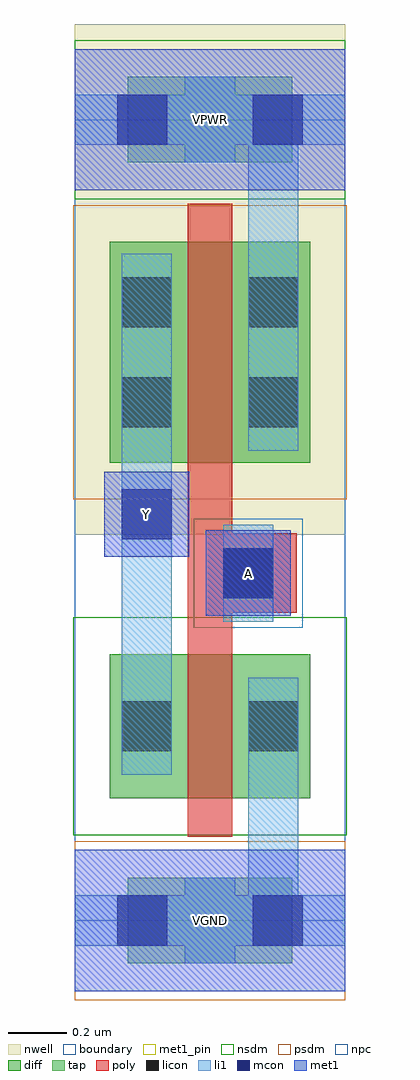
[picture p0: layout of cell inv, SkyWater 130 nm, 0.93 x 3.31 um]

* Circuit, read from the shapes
.subckt inv A VGND VPWR Y
XM1 VGND A Y VSUBS sky130_fd_pr__nfet_01v8 w=0.49 l=0.15
XM2 VPWR A Y n1 sky130_fd_pr__pfet_01v8 w=0.75 l=0.15
.ends

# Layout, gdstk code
import gdstk
lib = gdstk.Library(unit=1e-6, precision=1e-09)
def R(c, l, rs):  # rectangles x0, y0, x1, y1
    for r in rs: c.add(gdstk.rectangle(r[:2], r[2:], *l))
nwell = (64, 20)
diff = (65, 20)
tap = (65, 44)
poly = (66, 20)
licon = (66, 44)
li1 = (67, 20)
mcon = (67, 44)
met1_pin = (68, 16)
met1 = (68, 20)
nsdm = (93, 44)
psdm = (94, 20)
npc = (95, 20)
boundary = (235, 4)

inv = lib.new_cell('inv')
R(inv, nwell, [(0,1.31,0.92,3.045)])
R(inv, diff, [(0.12,0.415,0.8,0.905), (0.12,1.555,0.8,2.305)])
R(inv, tap, [(0.18,-0.145,0.74,0.145), (0.18,2.575,0.74,2.865)])
R(inv, poly, [(0.385,0.285,0.535,2.435), (0.425,1.045,0.755,1.315)])
R(inv, licon, [(0.16,0.575,0.33,0.745), (0.59,0.575,0.76,0.745), (0.505,1.095,0.675,1.265), (0.16,1.675,0.33,1.845), (0.59,1.675,0.76,1.845), (0.16,2.015,0.33,2.185), (0.59,2.015,0.76,2.185)])
R(inv, li1, [(0.375,-0.145,0.545,0.145), (0,-0.085,0.92,0.085), (0.59,-0.085,0.76,0.825), (0.16,0.495,0.33,0.825), (0.16,0.495,0.33,2.265), (0.59,0.495,0.76,0.825), (0.505,1.015,0.675,1.345), (0.16,1.595,0.33,2.265), (0.59,1.595,0.76,2.265), (0.59,1.595,0.76,2.805), (0.375,2.575,0.545,2.865), (0,2.635,0.92,2.805)])
R(inv, mcon, [(0.145,-0.085,0.315,0.085), (0.605,-0.085,0.775,0.085), (0.505,1.095,0.675,1.265), (0.16,1.295,0.33,1.465), (0.145,2.635,0.315,2.805), (0.605,2.635,0.775,2.805)])
R(inv, met1_pin, [(0,-0.24,0.92,0.24), (0.445,1.035,0.735,1.325), (0.1,1.235,0.39,1.525), (0,2.48,0.92,2.96)])
R(inv, met1, [(0,-0.24,0.92,0.24), (0.445,1.035,0.735,1.325), (0.1,1.235,0.39,1.525), (0,2.48,0.92,2.96)])
R(inv, nsdm, [(-0.005,0.29,0.925,1.03), (0,2.45,0.92,2.99)])
R(inv, psdm, [(0,-0.27,0.92,0.27), (-0.005,1.43,0.925,2.43)])
R(inv, npc, [(0.405,0.995,0.775,1.365)])
R(inv, boundary, [(0,0,0.92,2.72)])
inv.add(gdstk.Label('A', (0.59,1.18), layer=68, texttype=5))
inv.add(gdstk.Label('Y', (0.245,1.38), layer=68, texttype=5))
inv.add(gdstk.Label('VPWR', (0.46,2.72), layer=68, texttype=5))
inv.add(gdstk.Label('VGND', (0.46,0), layer=68, texttype=5))
inv.add(gdstk.Label('A', (0.59,1.18), layer=68, texttype=16))
inv.add(gdstk.Label('Y', (0.245,1.38), layer=68, texttype=16))
inv.add(gdstk.Label('VPWR', (0.46,2.72), layer=68, texttype=16))
inv.add(gdstk.Label('VGND', (0.46,0), layer=68, texttype=16))

lib.write_gds('inv.gds')
